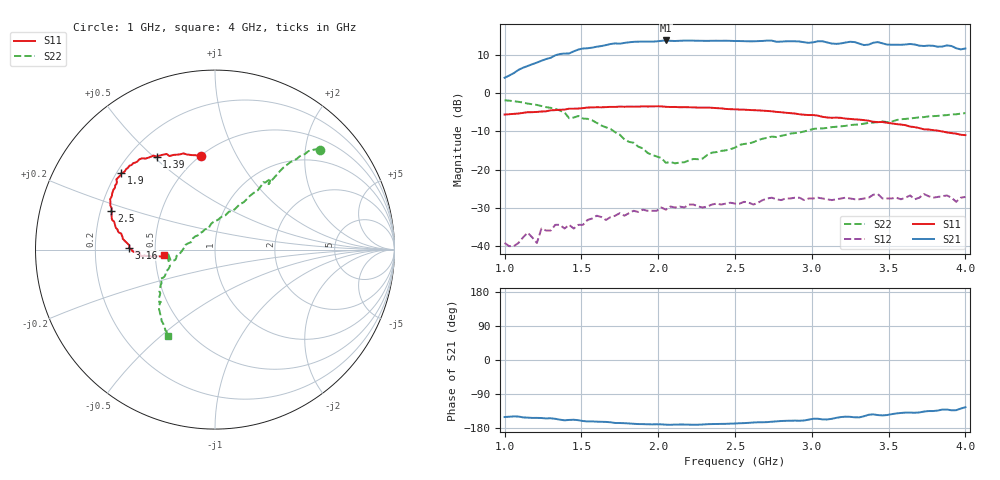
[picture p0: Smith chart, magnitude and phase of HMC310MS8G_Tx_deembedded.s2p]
!Hittite Microwave Corporation
!12 Elizabeth Drive
!Chelmsford, MA 01824
!Tel: 978-250-3343
!Fax: 978-250-3373
!Device: HMC310MS8G, BLUETOOTH and 2.4 GHz WLAN Receiver in 8-lead MSOP package with ground slug
!Misc: VDD=3.0 22.38MA TX , DEEMBEDDED TO THE PINS OF THE DEVICE
# MHZ S MA R 50
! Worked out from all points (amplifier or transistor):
!   101 points, 1 GHz to 4 GHz, reference 50 ohm
!   highest |S21| = 13.8 dB at 2.05 GHz (marker M1)
!   |S21| within 3 dB of that: 1.442 GHz to end of sweep
!   unconditionally stable (mu >= 1): start of sweep to end of sweep
!   at 1.48 GHz: K = 3.19, MAG = 15.0 dB, |S12| = -34.4 dB
!   at 2.5 GHz: K = 1.89, MAG = 15.8 dB, |S12| = -28.9 dB
!   at 4 GHz: K = 2.13, MAG = 13.4 dB, |S12| = -27.1 dB
!   S11 on the Smith chart (normalised r, x): 1 GHz: 0.51, +0.73; 1.39 GHz: 0.31, +0.51; 1.9 GHz: 0.22, +0.34; 2.5 GHz: 0.24, +0.17; 3.16 GHz: 0.35, +0.01; 4 GHz: 0.56, -0.03
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1000  0.526 98.3  1.592 -150.5  0.011 -131.4  0.807 43.7
1330  0.601 118.2  3.133 -155.2  0.019 -115.8  0.624 49.6
1390  0.611 122.1  3.301 -159.2  0.017 -105.4  0.561 50.4
1510  0.638 127.4  3.842 -161.0  0.019 -96.3  0.467 53.1
1900  0.674 140.7  4.725 -169.2  0.03 -92.7  0.19 78.0
2020  0.673 144.6  4.839 -169.8  0.032 -89.8  0.142 99.7
2050  0.664 145.5  4.896 -170.7  0.03 -88.7  0.123 107.4
2500  0.616 159.5  4.814 -167.5  0.036 -73.6  0.194 -174.5
2950  0.523 171.7  4.639 -159.6  0.04 -54.2  0.316 -152.2
3010  0.518 173.3  4.631 -155.0  0.042 -43.7  0.341 -151.8
3070  0.491 175.8  4.773 -156.7  0.042 -45.9  0.346 -149.8
3160  0.479 178.6  4.419 -152.6  0.041 -41.8  0.364 -146.5
3280  0.455 -178.5  4.659 -151.3  0.041 -36.0  0.388 -142.9
3310  0.451 -178.3  4.444 -151.3  0.041 -34.4  0.39 -141.4
3370  0.437 -178.1  4.319 -144.5  0.043 -30.0  0.409 -139.5
3430  0.419 -177.2  4.657 -145.3  0.048 -27.6  0.418 -138.0
3520  0.403 -175.0  4.304 -142.9  0.042 -21.3  0.425 -136.0
3670  0.36 -173.8  4.337 -139.2  0.041 -17.5  0.475 -129.8
3850  0.316 -173.3  4.076 -130.8  0.045 -13.4  0.513 -123.7
3910  0.301 -172.7  4.143 -132.8  0.043 -9.5  0.528 -121.5
3940  0.296 -171.6  3.875 -132.5  0.038 -6.0  0.53 -120.4
4000  0.283 -174.2  3.85 -124.6  0.044 -3.3  0.549 -118.8
